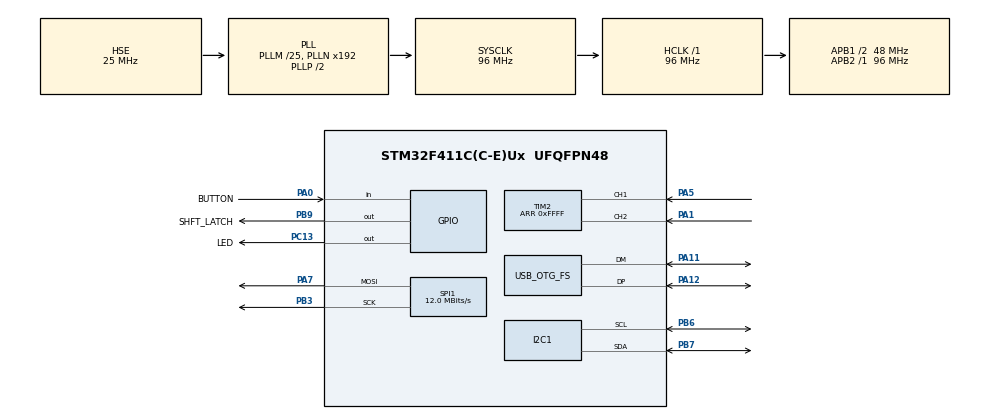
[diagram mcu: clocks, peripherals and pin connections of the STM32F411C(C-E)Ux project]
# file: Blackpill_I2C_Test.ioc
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FREERTOS.BinarySemaphores01=myBinarySem01,Dynamic,NULL
FREERTOS.INCLUDE_vTaskDelayUntil=1
FREERTOS.Mutexes01=spiMutex,Dynamic,NULL;i2cMutex,Dynamic,NULL;generalMutex,Dynamic,NULL
FREERTOS.Queues01=myQueue01,16,uint16_t,0,Dynamic,NULL,NULL
FREERTOS.Tasks01=defaultTask,0,128,StartDefaultTask,Default,NULL,Dynamic,NULL,NULL
I2C1.I2C_Mode=I2C_Fast
Mcu.Family=STM32F4
Mcu.Name=STM32F411C(C-E)Ux
Mcu.Package=UFQFPN48
NVIC.OTG_FS_IRQn=true\:5\:0\:false\:false\:true\:true\:false\:true
NVIC.PriorityGroup=NVIC_PRIORITYGROUP_4
NVIC.TIM1_UP_TIM10_IRQn=true\:15\:0\:false\:false\:true\:false\:false\:true
NVIC.TIM2_IRQn=true\:5\:0\:false\:false\:true\:true\:true\:true
NVIC.TimeBase=TIM1_UP_TIM10_IRQn
NVIC.TimeBaseIP=TIM1
PA0-WKUP.GPIO_Label=BUTTON
PA0-WKUP.Signal=GPIO_Input
PA1.GPIO_PuPd=GPIO_PULLUP
PA1.Signal=S_TIM2_CH2
PA11.Mode=Device_Only
PA11.Signal=USB_OTG_FS_DM
PA12.Mode=Device_Only
PA12.Signal=USB_OTG_FS_DP
PA13.Mode=Serial_Wire
PA13.Signal=SYS_JTMS-SWDIO
PA14.Mode=Serial_Wire
PA14.Signal=SYS_JTCK-SWCLK
PA5.GPIO_PuPd=GPIO_PULLUP
PA5.Signal=S_TIM2_CH1_ETR
PA7.Mode=TX_Only_Simplex_Unidirect_Master
PA7.Signal=SPI1_MOSI
PB3.Mode=TX_Only_Simplex_Unidirect_Master
PB3.Signal=SPI1_SCK
PB6.Mode=I2C
PB6.Signal=I2C1_SCL
PB7.Mode=I2C
PB7.Signal=I2C1_SDA
PB9.GPIO_Label=SHFT_LATCH
PB9.Signal=GPIO_Output
PC13-ANTI_TAMP.GPIO_Label=LED
PC13-ANTI_TAMP.PinState=GPIO_PIN_SET
PC13-ANTI_TAMP.Signal=GPIO_Output
PH0\ -\ OSC_IN.Mode=HSE-External-Oscillator
PH0\ -\ OSC_IN.Signal=RCC_OSC_IN
PH1\ -\ OSC_OUT.Mode=HSE-External-Oscillator
PH1\ -\ OSC_OUT.Signal=RCC_OSC_OUT
ProjectManager.HeapSize=0x200
ProjectManager.StackSize=0x400
ProjectManager.TargetToolchain=Makefile
RCC.48MHZClocksFreq_Value=48000000
RCC.AHBFreq_Value=96000000
RCC.APB1CLKDivider=RCC_HCLK_DIV2
RCC.APB1Freq_Value=48000000
RCC.APB1TimFreq_Value=96000000
RCC.APB2Freq_Value=96000000
RCC.APB2TimFreq_Value=96000000
RCC.CortexFreq_Value=96000000
RCC.HCLKFreq_Value=96000000
RCC.HSE_VALUE=25000000
RCC.HSI_VALUE=16000000
RCC.LSE_VALUE=32768
RCC.PLLM=25
RCC.SYSCLKFreq_VALUE=96000000
RCC.SYSCLKSource=RCC_SYSCLKSOURCE_PLLCLK
RCC.VCOOutputFreq_Value=192000000
SH.S_TIM2_CH1_ETR.0=TIM2_CH1,Encoder_Interface
SH.S_TIM2_CH2.0=TIM2_CH2,Encoder_Interface
SPI1.BaudRatePrescaler=SPI_BAUDRATEPRESCALER_8
SPI1.CalculateBaudRate=12.0 MBits/s
SPI1.Direction=SPI_DIRECTION_2LINES
SPI1.FirstBit=SPI_FIRSTBIT_LSB
SPI1.Mode=SPI_MODE_MASTER
SPI1.VirtualType=VM_MASTER
TIM2.ClockDivision=TIM_CLOCKDIVISION_DIV2
TIM2.EncoderMode=TIM_ENCODERMODE_TI1
TIM2.IC1Filter=15
TIM2.IC1Polarity=TIM_ICPOLARITY_RISING
TIM2.IC1Prescaler=TIM_ICPSC_DIV1
TIM2.IC2Filter=15
TIM2.IC2Prescaler=TIM_ICPSC_DIV1
TIM2.Period=0xFFFF
USB_DEVICE.CLASS_NAME_FS=CDC
USB_DEVICE.VirtualMode=Cdc
USB_DEVICE.VirtualModeFS=Cdc_FS
USB_OTG_FS.VirtualMode=Device_Only
VP_FREERTOS_VS_CMSIS_V1.Mode=CMSIS_V1
VP_SYS_VS_tim1.Mode=TIM1
VP_USB_DEVICE_VS_USB_DEVICE_CDC_FS.Mode=CDC_FS
board=custom

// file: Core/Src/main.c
/* USER CODE BEGIN Header */
/**
  ******************************************************************************
  * @file           : main.c
  * @brief          : Main program body
  ******************************************************************************
  * @attention
  *
  * <h2><center>&copy; Copyright (c) 2022 STMicroelectronics.
  * All rights reserved.</center></h2>
  *
  * This software component is licensed by ST under Ultimate Liberty license
  * SLA0044, the "License"; You may not use this file except in compliance with
  * the License. You may obtain a copy of the License at:
  *                             www.st.com/SLA0044
  *
  ******************************************************************************
  */
/* USER CODE END Header */
#include "main.h"
#include "cmsis_os.h"
#include "i2c.h"
#include "spi.h"
#include "tim.h"
#include "usb_device.h"
#include "gpio.h"

/* USER CODE BEGIN Includes */
#include <stdio.h>
#include "usbd_cdc_if.h"
#include "string.h"
#include "fonts.h"
#include "ssd1306.h"
#include "test.h"
#include "bitmap.h"
#include "horse_anim.h"
#include "my_flash.h"
/* USER CODE END Includes */

/* USER CODE BEGIN PV */
uint16_t SPIdata[] = {0x0001};

// Encoder value changed flag
uint8_t encoderCountChanged = 0;

// Flash Memory Test Vars
uint8_t myTestWrite[5] = {0x11, 0x22, 0x33, 0x44, 0x55};
uint8_t myTestRead[5];

// Buffer for USB serial read
uint8_t readBuffer[64];
uint8_t bufferUpdated = 0;

/* USER CODE END PV */

void SystemClock_Config(void);
void MX_FREERTOS_Init(void);

/* USER CODE BEGIN 0 */

void HAL_TIM_IC_CaptureCallback(TIM_HandleTypeDef* htim)
{
  uint32_t counter = __HAL_TIM_GET_COUNTER(htim);
  encoderCountChanged++;
}

/* USER CODE END 0 */

int main(void)
{

  /* MCU Configuration--------------------------------------------------------*/

  /* Reset of all peripherals, Initializes the Flash interface and the Systick. */
  HAL_Init();

  /* Configure the system clock */
  SystemClock_Config();

  /* Initialize all configured peripherals */
  MX_GPIO_Init();
  MX_USB_DEVICE_Init();
  MX_I2C1_Init();
  MX_TIM2_Init();
  MX_SPI1_Init();
  /* USER CODE BEGIN 2 */
  //HAL_TIM_Encoder_Start(&htim2, TIM_CHANNEL_ALL);
  HAL_TIM_Encoder_Start_IT(&htim2, TIM_CHANNEL_ALL);
  MY_FLASH_SetSectorAddrs(11, 0x080E0000); // set user flash to last sector
  uint8_t clearShiftRef = 0x00;
  HAL_GPIO_WritePin(SHFT_LATCH_GPIO_Port, SHFT_LATCH_Pin, GPIO_PIN_RESET);
  HAL_SPI_Transmit(&hspi1, &clearShiftRef, 1, 1);
  HAL_GPIO_WritePin(SHFT_LATCH_GPIO_Port, SHFT_LATCH_Pin, GPIO_PIN_SET);

  //MY_FLASH_WriteN(0, myTestWrite, 5, DATA_TYPE_8);

  HAL_Delay(1000);

  SSD1306_Init();
  printf("OLED Init\n\r");

  SSD1306_GotoXY(0, 0);
  SSD1306_Puts("HELLO", &Font_16x26, 1);
  SSD1306_GotoXY(10, 30);
  SSD1306_Puts("WORLD", &Font_16x26, 1);
  SSD1306_UpdateScreen();
  printf("Print Hello World\n\r");

  SPIdata[0] = 0xFF00; // = 1 1 1 1  1 1 1 1  1 1 1 1  1 1 1 1

  //HAL_Delay(2500);

  SSD1306_Scrolldiagright(0x00, 0x0f);
  printf("Scroll Right\n\r");
  HAL_Delay(2000);

  SSD1306_Clear();

  SSD1306_DrawBitmap(0, 0, moog_logo, 128, 64, 1);
  SSD1306_UpdateScreen();
  SSD1306_ScrollRight(0x00, 0x0f);
  printf("Scroll Right\n\r");
  HAL_Delay(4000);
  SSD1306_Stopscroll();
  // HAL_Delay(2000);
  // SSD1306_Scrolldiagleft(0x00, 0x0f);
  // printf("Scroll Diagonal Left\n\r");
  // HAL_Delay(2000);
  // SSD1306_Scrolldiagright(0x00, 0x0f);
  // printf("Scroll Diagonal Right\n\r");
  // HAL_Delay(2000);

  /* USER CODE END 2 */

  /* Call init function for freertos objects (in freertos.c) */
  MX_FREERTOS_Init();
  /* Start scheduler */
  osKernelStart();

  /* We should never get here as control is now taken by the scheduler */
  /* Infinite loop */
  /* USER CODE BEGIN WHILE */
  int inverted = 0;
  int delayTime = 0;
  uint8_t outputBuffer = 0x01;
  while (1)
  {
    /* USER CODE END WHILE */

    /* USER CODE BEGIN 3 */

    // Toggle USER_LED and invert diplay @ 1Hz
    // HAL_GPIO_TogglePin(LED_GPIO_Port, LED_Pin);
    // SSD1306_InvertDisplay(inverted);
    // if(inverted == 0) inverted = 1;
    // else inverted = 0;
    // HAL_Delay(1000);
    // printSr("OH NO FUCK\n\r");

    // Moog Logo Scroll "Screensaver"
    // SSD1306_Scrolldiagleft(0x00, 0x0f);
    // printf("Scroll Diagonal Left\n\r");
    // HAL_Delay(2000);
    // SSD1306_Scrolldiagright(0x00, 0x0f);
    // printf("Scroll Diagonal Right\n\r");
    // HAL_Delay(2000);

    // Read and diplay current encoder count

    /*
    if(encoderCountChanged > 1)
    {
      uint32_t tim2_cnt = __HAL_TIM_GET_COUNTER(&htim2) / 2;
      char data [16];

      // Write Time value to OLED
      SSD1306_Clear();
      sprintf(data, "%d", tim2_cnt);
      SSD1306_GotoXY(0, 0);
      SSD1306_Puts(data, &Font_16x26, 1);
      SSD1306_UpdateScreen();

      // Shift Counter value to register diplaying binary on LEDs
      HAL_GPIO_WritePin(SHFT_LATCH_GPIO_Port, SHFT_LATCH_Pin, GPIO_PIN_RESET);
      HAL_SPI_Transmit(&hspi1, &tim2_cnt, 1, 1);
      HAL_GPIO_WritePin(SHFT_LATCH_GPIO_Port, SHFT_LATCH_Pin, GPIO_PIN_SET);

      // Write counter value to USB serial
      printf("%d\n\r", tim2_cnt);

      //Flash On board LED with value chage
      HAL_GPIO_TogglePin(LED_GPIO_Port, LED_Pin);
      encoderCountChanged = 0;
      //HAL_Delay(5000);
      //MY_FLASH_ReadN(0, myTestRead, 5, DATA_TYPE_8);

      // SSD1306_Clear();
      // SSD1306_DrawBitmap(0, 0, moog_logo, 128, 64, 1);
      // SSD1306_UpdateScreen();
    }

    if(bufferUpdated)
    {
      printf("> %c\n\r", readBuffer[0]);
      bufferUpdated = 0;
    }
    */

/*
    // Test SPI Shift Out
    HAL_GPIO_WritePin(SHFT_LATCH_GPIO_Port, SHFT_LATCH_Pin, GPIO_PIN_RESET);
    HAL_SPI_Transmit(&hspi1, &outputBuffer, 1, 1);
    HAL_GPIO_WritePin(SHFT_LATCH_GPIO_Port, SHFT_LATCH_Pin, GPIO_PIN_SET);
    //outputBuffer = (outputBuffer << 1);
    outputBuffer <<= 1;
    if (outputBuffer == 0) outputBuffer = 1;
    HAL_Delay(100);
*/

    // Horse Animation
    // {
    // SSD1306_Clear();
    // SSD1306_DrawBitmap(0, 0, horse1, 128, 64, 1);
    // SSD1306_UpdateScreen();
    // //HAL_Delay(delayTime);

    // SSD1306_Clear();
    // SSD1306_DrawBitmap(0, 0, horse2, 128, 64, 1);
    // SSD1306_UpdateScreen();
    // //HAL_Delay(delayTime);

    // SSD1306_Clear();
    // SSD1306_DrawBitmap(0, 0, horse3, 128, 64, 1);
    // SSD1306_UpdateScreen();
    // //HAL_Delay(delayTime);

    // SSD1306_Clear();
    // SSD1306_DrawBitmap(0, 0, horse4, 128, 64, 1);
    // SSD1306_UpdateScreen();
    // //HAL_Delay(delayTime);

    // SSD1306_Clear();
    // SSD1306_DrawBitmap(0, 0, horse5, 128, 64, 1);
    // SSD1306_UpdateScreen();
    // //HAL_Delay(delayTime);

    // SSD1306_Clear();
    // SSD1306_DrawBitmap(0, 0, horse6, 128, 64, 1);
    // SSD1306_UpdateScreen();
    // //HAL_Delay(delayTime);

    // SSD1306_Clear();
    // SSD1306_DrawBitmap(0, 0, horse7, 128, 64, 1);
    // SSD1306_UpdateScreen();
    // //HAL_Delay(delayTime);

    // SSD1306_Clear();
    // SSD1306_DrawBitmap(0, 0, horse8, 128, 64, 1);
    // SSD1306_UpdateScreen();
    // //HAL_Delay(delayTime);

    // SSD1306_Clear();
    // SSD1306_DrawBitmap(0, 0, horse9, 128, 64, 1);
    // SSD1306_UpdateScreen();
    // //HAL_Delay(delayTime);

    // SSD1306_Clear();
    // SSD1306_DrawBitmap(0, 0, horse10, 128, 64, 1);
    // SSD1306_UpdateScreen();
    // //HAL_Delay(delayTime);
    // }
  }
  /* USER CODE END 3 */
}

void SystemClock_Config(void)
{
  RCC_OscInitTypeDef RCC_OscInitStruct = {0};
  RCC_ClkInitTypeDef RCC_ClkInitStruct = {0};

  /** Configure the main internal regulator output voltage
  */
  __HAL_RCC_PWR_CLK_ENABLE();
  __HAL_PWR_VOLTAGESCALING_CONFIG(PWR_REGULATOR_VOLTAGE_SCALE1);
  /** Initializes the RCC Oscillators according to the specified parameters
  * in the RCC_OscInitTypeDef structure.
  */
  RCC_OscInitStruct.OscillatorType = RCC_OSCILLATORTYPE_HSE;
  RCC_OscInitStruct.HSEState = RCC_HSE_ON;
  RCC_OscInitStruct.PLL.PLLState = RCC_PLL_ON;
  RCC_OscInitStruct.PLL.PLLSource = RCC_PLLSOURCE_HSE;
  RCC_OscInitStruct.PLL.PLLM = 25;
  RCC_OscInitStruct.PLL.PLLN = 192;
  RCC_OscInitStruct.PLL.PLLP = RCC_PLLP_DIV2;
  RCC_OscInitStruct.PLL.PLLQ = 4;
  if (HAL_RCC_OscConfig(&RCC_OscInitStruct) != HAL_OK)
  {
    Error_Handler();
  }
  /** Initializes the CPU, AHB and APB buses clocks
  */
  RCC_ClkInitStruct.ClockType = RCC_CLOCKTYPE_HCLK|RCC_CLOCKTYPE_SYSCLK
                              |RCC_CLOCKTYPE_PCLK1|RCC_CLOCKTYPE_PCLK2;
  RCC_ClkInitStruct.SYSCLKSource = RCC_SYSCLKSOURCE_PLLCLK;
  RCC_ClkInitStruct.AHBCLKDivider = RCC_SYSCLK_DIV1;
  RCC_ClkInitStruct.APB1CLKDivider = RCC_HCLK_DIV2;
  RCC_ClkInitStruct.APB2CLKDivider = RCC_HCLK_DIV1;

  if (HAL_RCC_ClockConfig(&RCC_ClkInitStruct, FLASH_LATENCY_3) != HAL_OK)
  {
    Error_Handler();
  }
}

/* USER CODE BEGIN 4 */

// Overridden to enable printf over USB Virtual Com Port
// osDelay is there in case it doesnt work with FreeRTOS
int _write(int file, char *ptr, int len) {
    CDC_Transmit_FS((uint8_t*) ptr, len);
    //osDelay(1);
    return len;
}

// void TIM2_IRQHandler(void)
// {
//     printf("%d\n\r", (int)(__HAL_TIM_GET_COUNTER(&htim2)/2));
// }

/* USER CODE END 4 */

void HAL_TIM_PeriodElapsedCallback(TIM_HandleTypeDef *htim)
{
  if (htim->Instance == TIM1) {
    HAL_IncTick();
  }
}

void Error_Handler(void)
{
  __disable_irq();
  while (1)
  {
  }
}

/************************ (C) COPYRIGHT STMicroelectronics *****END OF FILE****/

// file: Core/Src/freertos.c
/* USER CODE BEGIN Header */
/**
  ******************************************************************************
  * File Name          : freertos.c
  * Description        : Code for freertos applications
  ******************************************************************************
  * @attention
  *
  * <h2><center>&copy; Copyright (c) 2022 STMicroelectronics.
  * All rights reserved.</center></h2>
  *
  * This software component is licensed by ST under Ultimate Liberty license
  * SLA0044, the "License"; You may not use this file except in compliance with
  * the License. You may obtain a copy of the License at:
  *                             www.st.com/SLA0044
  *
  ******************************************************************************
  */
/* USER CODE END Header */

#include "FreeRTOS.h"
#include "task.h"
#include "main.h"
#include "cmsis_os.h"

/* USER CODE BEGIN Includes */
#include "fonts.h"
#include "spi.h"
#include "tim.h"
/* USER CODE END Includes */

/* USER CODE BEGIN Variables */
extern uint8_t encoderCountChanged;
extern uint8_t readBuffer[64];
extern uint8_t bufferUpdated;

osThreadId displayTaskHandle;
osThreadId shiftOutTaskHandle;
osThreadId usbPrintTaskHandle;
osThreadId encoderTaskHandle;

/* USER CODE END Variables */
osThreadId defaultTaskHandle;
osMessageQId myQueue01Handle;
osMutexId spiMutexHandle;
osMutexId i2cMutexHandle;
osMutexId generalMutexHandle;
osSemaphoreId myBinarySem01Handle;

/* USER CODE BEGIN FunctionPrototypes */

void StartDisplayTask(void const * argument);
void StartShiftOutTask(void const * argument);
void StartUSBPrintTask(void const * argument);
void StartEncoderTask(void const * argument);

/* USER CODE END FunctionPrototypes */

void StartDefaultTask(void const * argument);

extern void MX_USB_DEVICE_Init(void);
void MX_FREERTOS_Init(void); /* (MISRA C 2004 rule 8.1) */

/* GetIdleTaskMemory prototype (linked to static allocation support) */
void vApplicationGetIdleTaskMemory( StaticTask_t **ppxIdleTaskTCBBuffer, StackType_t **ppxIdleTaskStackBuffer, uint32_t *pulIdleTaskStackSize );

/* USER CODE BEGIN GET_IDLE_TASK_MEMORY */
static StaticTask_t xIdleTaskTCBBuffer;
static StackType_t xIdleStack[configMINIMAL_STACK_SIZE];

void vApplicationGetIdleTaskMemory( StaticTask_t **ppxIdleTaskTCBBuffer, StackType_t **ppxIdleTaskStackBuffer, uint32_t *pulIdleTaskStackSize )
{
  *ppxIdleTaskTCBBuffer = &xIdleTaskTCBBuffer;
  *ppxIdleTaskStackBuffer = &xIdleStack[0];
  *pulIdleTaskStackSize = configMINIMAL_STACK_SIZE;
  /* place for user code */
}
/* USER CODE END GET_IDLE_TASK_MEMORY */

void MX_FREERTOS_Init(void) {
  /* Create the mutex(es) */
  /* definition and creation of spiMutex */
  osMutexDef(spiMutex);
  spiMutexHandle = osMutexCreate(osMutex(spiMutex));

  /* definition and creation of i2cMutex */
  osMutexDef(i2cMutex);
  i2cMutexHandle = osMutexCreate(osMutex(i2cMutex));

  /* definition and creation of generalMutex */
  osMutexDef(generalMutex);
  generalMutexHandle = osMutexCreate(osMutex(generalMutex));

  /* Create the semaphores(s) */
  /* definition and creation of myBinarySem01 */
  osSemaphoreDef(myBinarySem01);
  myBinarySem01Handle = osSemaphoreCreate(osSemaphore(myBinarySem01), 1);

  /* Create the queue(s) */
  /* definition and creation of myQueue01 */
  osMessageQDef(myQueue01, 16, uint16_t);
  myQueue01Handle = osMessageCreate(osMessageQ(myQueue01), NULL);

  /* Create the thread(s) */
  /* definition and creation of defaultTask */
  osThreadDef(defaultTask, StartDefaultTask, osPriorityNormal, 0, 128);
  defaultTaskHandle = osThreadCreate(osThread(defaultTask), NULL);

  /* USER CODE BEGIN RTOS_THREADS */
  osThreadDef(diplayTask, StartDisplayTask, osPriorityNormal, 0, 128);
  displayTaskHandle = osThreadCreate(osThread(diplayTask), NULL);

  osThreadDef(shiftOutTask, StartShiftOutTask, osPriorityNormal, 0, 128);
  shiftOutTaskHandle = osThreadCreate(osThread(shiftOutTask), NULL);

  osThreadDef(usbPrintTask, StartUSBPrintTask, osPriorityNormal, 0, 128);
  usbPrintTaskHandle = osThreadCreate(osThread(usbPrintTask), NULL);

  osThreadDef(encoderTask, StartEncoderTask, osPriorityNormal, 0, 128);
  encoderTaskHandle = osThreadCreate(osThread(encoderTask), NULL);
  /* USER CODE END RTOS_THREADS */

}

void StartDefaultTask(void const * argument)
{
  /* init code for USB_DEVICE */
  // MX_USB_DEVICE_Init();
  /* USER CODE BEGIN StartDefaultTask */
  /* Infinite loop */
  for(;;)
  {
    if(encoderCountChanged > 1)
    {
      uint32_t tim2_cnt = __HAL_TIM_GET_COUNTER(&htim2) / 2;
      char data [16];

      // Write Time value to OLED
      SSD1306_Clear();
      sprintf(data, "%d", tim2_cnt);
      SSD1306_GotoXY(0, 0);
      SSD1306_Puts(data, &Font_16x26, 1);
      SSD1306_UpdateScreen();

      // Shift Counter value to register diplaying binary on LEDs
      HAL_GPIO_WritePin(SHFT_LATCH_GPIO_Port, SHFT_LATCH_Pin, GPIO_PIN_RESET);
      HAL_SPI_Transmit(&hspi1, &tim2_cnt, 1, 1);
      HAL_GPIO_WritePin(SHFT_LATCH_GPIO_Port, SHFT_LATCH_Pin, GPIO_PIN_SET);

      // Write counter value to USB serial
      printf("%d\n\r", tim2_cnt);

      //Flash On board LED with value chage
      HAL_GPIO_TogglePin(LED_GPIO_Port, LED_Pin);
      encoderCountChanged = 0;
      //HAL_Delay(5000);
      //MY_FLASH_ReadN(0, myTestRead, 5, DATA_TYPE_8);

      // SSD1306_Clear();
      // SSD1306_DrawBitmap(0, 0, moog_logo, 128, 64, 1);
      // SSD1306_UpdateScreen();
    }

    osDelay(1);
  }
  /* USER CODE END StartDefaultTask */
}

/* USER CODE BEGIN Application */

void StartDisplayTask(void const * argument)
{
  for(;;)
  {
    osDelay(1);
  }
}

void StartShiftOutTask(void const * argument)
{
  for(;;)
  {
    osDelay(1);
  }
}

void StartUSBPrintTask(void const * argument)
{
  for(;;)
  {
    if(bufferUpdated)
    {
      printf("> %c\n\r", readBuffer[0]);
      bufferUpdated = 0;
    }
    osDelay(1);
  }
}

void encoderTask(void const * argument)
{
  for(;;)
  {
    osDelay(1);
  }
}
/* USER CODE END Application */

/************************ (C) COPYRIGHT STMicroelectronics *****END OF FILE****/
